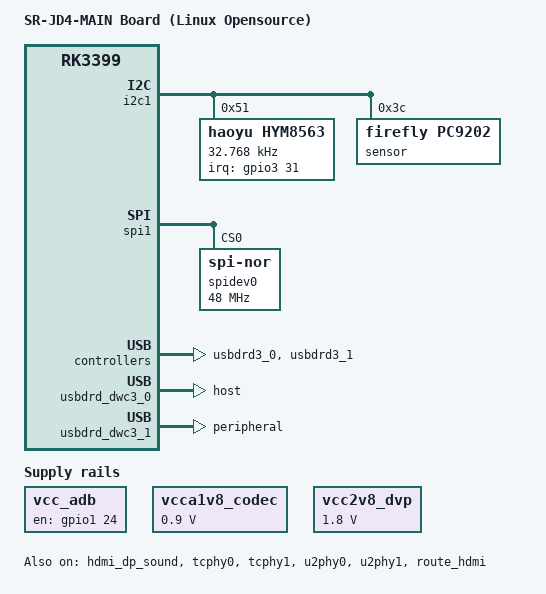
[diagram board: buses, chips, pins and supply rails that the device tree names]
/dts-v1/;

#include "rk3399-firefly-port.dtsi"
#include <dt-bindings/sensor-dev.h>

/ {
	model = "SR-JD4-MAIN Board (Linux Opensource)";
	compatible = "rockchip,rk3399-firefly", "rockchip,rk3399";
	
	/delete-node/ gpio-keys;
	/delete-node/ wireless-wlan;
	/delete-node/ wireless-bluetooth;
	test-power {
		status = "okay";
	};

	vcc_adb: vcc-adb {
		compatible = "regulator-fixed";
		enable-active-high;
		gpio = <&gpio1 24 GPIO_ACTIVE_HIGH>;
		pinctrl-names = "default";
		pinctrl-0 = <&adb_sel>;
		regulator-name = "vcc_adb";
		regulator-always-on;
		status = "okay";
	};

};

&pwm3 {
	status = "disabled";
};

&sdio0 {
	status = "disabled";
};

&sdio_pwrseq {
	status = "disabled";
};

&i2s0 {
	status = "disabled";
};

&sdmmc {
	status = "disabled";
};

&rt5640 {
	status = "disabled";
};

/* rtc */
&rk808{
	/delete-property/ pmic,stby-gpio;
	pinctrl-0 = <&pmic_int_l &pmic_dvs2 &pmic_hold>;
	rtc {
		status = "disabled";
	};	
};

//pcie0 reset port
&pcie0 {
	ep-gpios = <&gpio1 4 GPIO_ACTIVE_HIGH>;
};


&i2c1 {
	status = "okay";
	hym8563: hym8563@51 {
		compatible = "haoyu,hym8563";
		reg = <0x51>;
		interrupt-parent = <&gpio3>;
		interrupts = <31 IRQ_TYPE_EDGE_FALLING>;
		pinctrl-names = "default";
		pinctrl-0 = <&rtc_int>;
		#clock-cells = <0>;
		clock-frequency = <32768>;
		clock-output-names = "xin32k";
	};



	sensor@3c {
		 status = "okay";
		 compatible = "firefly,pc9202";
		 reg = <0x3c>;
	};

};

/* Usb 5v */

&vcc5v0_host {
	gpio = <&gpio1 23 GPIO_ACTIVE_HIGH>;
};

&host_vbus_drv {
	rockchip,pins = <1 23 RK_FUNC_GPIO &pcfg_pull_none>;
};

/* Mini pcie 4G */

&vcc3v3_3g {
	gpio = <&gpio3 28 GPIO_ACTIVE_HIGH>;
};

&pcie_3g_drv {
	rockchip,pins = <3 28 RK_FUNC_GPIO &pcfg_pull_up>;
};

&spi1 {
	status = "okay";
	max-freq = <48000000>;
	dev-port = <0>;

	spidev0: spidev@00 {
		status = "okay";
		//compatible = "linux,spidev";
		compatible = "jedec,spi-nor";
		reg = <0x00>;
		spi-max-frequency = <48000000>;
	};
/*
       spi_demo: spi-demo@00{
              status = "okay";
              compatible = "firefly,rk3399-spi";
              reg = <0x00>;
              spi-max-frequency = <48000000>;
*/
/* rk3399 driver support SPI_CPOL | SPI_CPHA | SPI_CS_HIGH */
              //spi-cpha;             /* SPI mode: CPHA=1 */
              //spi-cpol;     /* SPI mode: CPOL=1 */
              //spi-cs-high;
//      };
};


&gmac {
	tx_delay = <0x2F>;
	rx_delay = <0x1E>;
};

&hdmi_dp_sound {
	status = "okay";
};

&i2c2 {
	status = "disabled";
	i2c-scl-rising-time-ns = <300>;
	i2c-scl-falling-time-ns = <15>;
};

&vcca1v8_codec {
	regulator-min-microvolt = <900000>;
	regulator-max-microvolt = <900000>;
};




&vcc3v3_pcie {
	/delete-property/ gpio;
};



&uart4 {
    status = "disabled";
};

&dp_in_vopb {
	status = "disabled";
};

&hdmi_in_vopl {
	status = "disabled";
};

&wdt {
	status = "disabled";
};

&io_domains {
	bt656-supply = <&vcc_3v0>;
};

&vcc2v8_dvp {
	regulator-min-microvolt = <1800000>;
	regulator-max-microvolt = <1800000>;
};

&vcca1v8_codec {
	regulator-min-microvolt = <900000>;
	regulator-max-microvolt = <900000>;
};


&fusb0 {
    status = "disabled";
};

&cdn_dp {
    status = "disabled";
};

&tcphy0 {
    /delete-property/ extcon;
    status = "okay";
};

&tcphy1 {
    /delete-property/ extcon;
    status = "okay";
};

&u2phy0 {
    status = "okay";
    /delete-property/ extcon;

    u2phy0_otg: otg-port {
        status = "okay";
    };
};

&u2phy1 {
    status = "okay";
    /delete-property/ extcon;

    u2phy1_otg: otg-port {
	firefly,vbus-no-det; //set typec peripheral mode when det pin not connect
        status = "okay";
    };
};

&usbdrd3_0 {
    status = "okay";
    /delete-property/ extcon;
};

&usbdrd_dwc3_0 {
    dr_mode = "host";
};

&usbdrd3_1 {
    status = "okay";
};

&usbdrd_dwc3_1 {
    dr_mode = "peripheral";
    status = "okay";
};

&route_hdmi {
	status = "okay";
};

&rk808 {
     /delete-property/ pmic,stby-gpio;
     /delete-property/ pmic,hold-gpio;
};

&pinctrl {
	hym8563 {
		rtc_int: rtc-int {
			rockchip,pins = <RK_GPIO3 31 RK_FUNC_GPIO &pcfg_pull_up>;
		};
	};

	adb {
		adb_sel: adb-sel {
			rockchip,pins = <RK_GPIO1 24 RK_FUNC_GPIO &pcfg_pull_up>;
		};
	};

};

